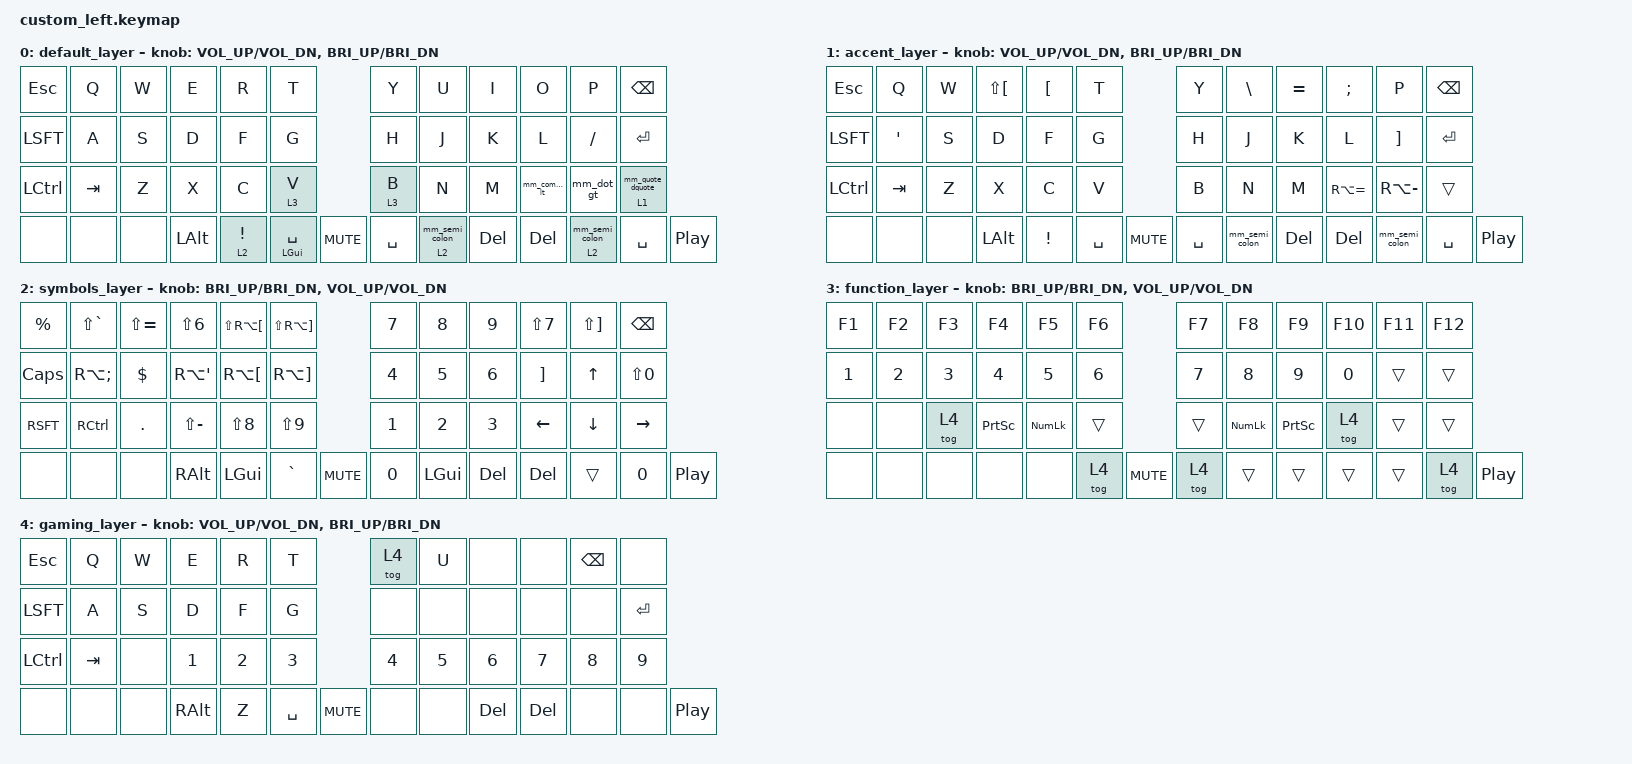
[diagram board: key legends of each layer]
#include <behaviors.dtsi>
#include <dt-bindings/zmk/keys.h>
#include <dt-bindings/zmk/bt.h>

/ {
    behaviors {
        mm_quote_dquote: quote_dquote {
            compatible = "zmk,behavior-mod-morph";
            #binding-cells = <0>;
            bindings = <&kp MINUS>, <&kp LS(N2)>;
            mods = <(MOD_LSFT|MOD_RSFT)>;
        };

        mm_comma_lt: comma_lt {
            compatible = "zmk,behavior-mod-morph";
            #binding-cells = <0>;
            bindings = <&kp COMMA>, <&kp NUBS>;
            mods = <(MOD_LSFT|MOD_RSFT)>;
        };

        mm_dot_gt: dot_gt {
            compatible = "zmk,behavior-mod-morph";
            #binding-cells = <0>;
            bindings = <&kp DOT>, <&kp LS(NUBS)>;
            mods = <(MOD_LSFT|MOD_RSFT)>;
        };

        mm_semi_colon: semi_colon {
            compatible = "zmk,behavior-mod-morph";
            #binding-cells = <0>;
            bindings = <&kp LS(COMMA)>, <&kp LS(DOT)>;
            mods = <(MOD_LSFT|MOD_RSFT)>;
        };

        lt1_quote: lt1_quote {
            compatible = "zmk,behavior-hold-tap";
            #binding-cells = <2>;
            flavor = "hold-preferred";
            tapping-term-ms = <200>;
            bindings = <&mo>, <&mm_quote_dquote>;
        };

        lt2_semi: lt2_semi {
            compatible = "zmk,behavior-hold-tap";
            #binding-cells = <2>;
            flavor = "hold-preferred";
            tapping-term-ms = <200>;
            bindings = <&mo>, <&mm_semi_colon>;
        };
    };

    combos {
        compatible = "zmk,combos";

        combo_bt_clr {
            timeout-ms = <500>;
            key-positions = <0 5>;
            bindings = <&bt BT_CLR>;
        };

        combo_bt_sel_0 {
            timeout-ms = <100>;
            key-positions = <32 33>;
            bindings = <&bt BT_SEL 0>;
        };

        combo_bt_sel_1 {
            timeout-ms = <100>;
            key-positions = <33 34>;
            bindings = <&bt BT_SEL 1>;
        };

        combo_bt_sel_2 {
            timeout-ms = <100>;
            key-positions = <34 35>;
            bindings = <&bt BT_SEL 2>;
        };

    };

    keymap {
        compatible = "zmk,keymap";

        default_layer {
            bindings = <
                &kp ESC   &kp Q    &kp W    &kp E      &kp R      &kp T              &kp Y      &kp U            &kp I      &kp O      &kp P      &kp BSPC
                &kp LSFT  &kp A    &kp S    &kp D      &kp F      &kp G              &kp H      &kp J            &kp K      &kp L      &kp FSLH   &kp RET
                &kp LCTRL &kp TAB  &kp Z    &kp X      &kp C      &lt 3 V            &lt 3 B    &kp N            &kp M      &mm_comma_lt  &mm_dot_gt    &lt1_quote 1 0
                &none     &none    &none    &kp LALT   &lt 2 EXCL &mt LGUI SPACE &kp C_MUTE &kp SPACE  &lt2_semi 2 0    &kp DEL    &kp DEL    &lt2_semi 2 0      &kp SPACE &kp C_PP
            >;
            sensor-bindings = <&inc_dec_kp C_VOL_UP C_VOL_DN>, <&inc_dec_kp C_BRI_UP C_BRI_DN>;
        };

        accent_layer {
            bindings = <
                &kp ESC   &kp Q    &kp W    &kp LS(LBKT) &kp LBKT &kp T              &kp Y      &kp BSLH         &kp EQUAL  &kp SEMI   &kp P      &kp BSPC
                &kp LSFT  &kp SQT  &kp S    &kp D        &kp F    &kp G              &kp H      &kp J            &kp K      &kp L      &kp RBKT   &kp RET
                &kp LCTRL &kp TAB  &kp Z    &kp X        &kp C    &kp V              &kp B      &kp N            &kp M      &kp RA(EQUAL)  &kp RA(MINUS)  &trans
                &none     &none    &none    &kp LALT     &kp EXCL &kp SPACE &kp C_MUTE &kp SPACE  &mm_semi_colon &kp DEL    &kp DEL    &mm_semi_colon &kp SPACE &kp C_PP
            >;
            sensor-bindings = <&inc_dec_kp C_VOL_UP C_VOL_DN>, <&inc_dec_kp C_BRI_UP C_BRI_DN>;
        };

        symbols_layer {
            bindings = <
                &kp PRCNT &kp LS(GRAVE) &kp LS(EQUAL) &kp LS(N6) &kp LS(RA(LBKT)) &kp LS(RA(RBKT)) &kp N7 &kp N8 &kp N9 &kp LS(N7) &kp LS(RBKT) &kp BSPC
                &kp CAPS  &kp RA(SEMI)  &kp DLLR      &kp RA(SQT) &kp RA(LBKT)    &kp RA(RBKT)     &kp N4 &kp N5 &kp N6 &kp RBKT   &kp UP       &kp LS(N0)
                &kp RSFT  &kp RCTRL     &kp DOT       &kp LS(MINUS) &kp LS(N8)    &kp LS(N9)       &kp N1 &kp N2 &kp N3 &kp LEFT   &kp DOWN     &kp RIGHT
                &none     &none    &none     &kp RALT   &kp LGUI  &kp GRAVE &kp C_MUTE &kp N0     &kp LGUI         &kp DEL    &kp DEL    &trans           &kp N0    &kp C_PP
            >;
            sensor-bindings = <&inc_dec_kp C_BRI_UP C_BRI_DN>, <&inc_dec_kp C_VOL_UP C_VOL_DN>;
        };

        function_layer {
            bindings = <
                &kp F1    &kp F2   &kp F3    &kp F4     &kp F5    &kp F6             &kp F7     &kp F8           &kp F9     &kp F10    &kp F11    &kp F12
                &kp N1    &kp N2   &kp N3    &kp N4     &kp N5    &kp N6             &kp N7     &kp N8           &kp N9     &kp N0     &trans     &trans
                &none     &none    &tog 4    &kp PSCRN  &kp KP_NUM &trans            &trans     &kp KP_NUM       &kp PSCRN  &tog 4     &trans     &trans
                &none     &none    &none     &none      &none     &tog 4    &kp C_MUTE &tog 4     &trans           &trans     &trans     &trans           &tog 4    &kp C_PP
            >;
            sensor-bindings = <&inc_dec_kp C_BRI_UP C_BRI_DN>, <&inc_dec_kp C_VOL_UP C_VOL_DN>;
        };

        gaming_layer {
            bindings = <
                &kp ESC   &kp Q    &kp W    &kp E      &kp R      &kp T              &tog 4     &kp U            &none      &none      &kp BSPC   &none
                &kp LSFT  &kp A    &kp S    &kp D      &kp F      &kp G              &none      &none            &none      &none      &none      &kp RET
                &kp LCTRL &kp TAB  &none    &kp N1     &kp N2     &kp N3             &kp N4     &kp N5           &kp N6     &kp N7     &kp N8     &kp N9
                &none     &none    &none    &kp RALT   &kp Z      &kp SPACE &kp C_MUTE &none      &none            &kp DEL    &kp DEL    &none            &none     &kp C_PP
            >;
            sensor-bindings = <&inc_dec_kp C_VOL_UP C_VOL_DN>, <&inc_dec_kp C_BRI_UP C_BRI_DN>;
        };
    };
};
